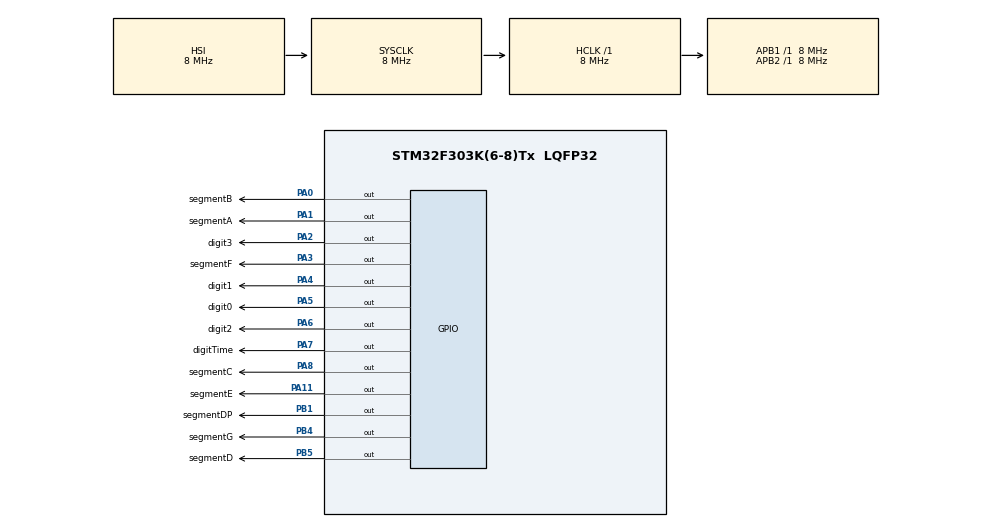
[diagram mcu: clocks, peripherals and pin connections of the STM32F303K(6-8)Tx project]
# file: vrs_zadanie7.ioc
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Mcu.Family=STM32F3
Mcu.Name=STM32F303K(6-8)Tx
Mcu.Package=LQFP32
NVIC.PriorityGroup=NVIC_PRIORITYGROUP_4
PA0.GPIO_Label=segmentB
PA0.Signal=GPIO_Output
PA1.GPIO_Label=segmentA
PA1.Signal=GPIO_Output
PA11.GPIO_Label=segmentE
PA11.Signal=GPIO_Output
PA2.GPIO_Label=digit3
PA2.Signal=GPIO_Output
PA3.GPIO_Label=segmentF
PA3.Signal=GPIO_Output
PA4.GPIO_Label=digit1
PA4.Signal=GPIO_Output
PA5.GPIO_Label=digit0
PA5.Signal=GPIO_Output
PA6.GPIO_Label=digit2
PA6.Signal=GPIO_Output
PA7.GPIO_Label=digitTime
PA7.Signal=GPIO_Output
PA8.GPIO_Label=segmentC
PA8.Signal=GPIO_Output
PB1.GPIO_Label=segmentDP
PB1.Signal=GPIO_Output
PB4.GPIO_Label=segmentG
PB4.Signal=GPIO_Output
PB5.GPIO_Label=segmentD
PB5.Signal=GPIO_Output
ProjectManager.HeapSize=0x200
ProjectManager.StackSize=0x400
ProjectManager.TargetToolchain=STM32CubeIDE
RCC.AHBFreq_Value=8000000
RCC.APB1Freq_Value=8000000
RCC.APB2Freq_Value=8000000
RCC.CortexFreq_Value=8000000
RCC.HSE_VALUE=8000000
RCC.HSI_VALUE=8000000
RCC.SYSCLKFreq_VALUE=8000000
board=custom

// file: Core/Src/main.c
/* USER CODE BEGIN Header */
/**
  ******************************************************************************
  * @file           : main.c
  * @brief          : Main program body
  ******************************************************************************
  * @attention
  *
  * <h2><center>&copy; Copyright (c) 2021 STMicroelectronics.
  * All rights reserved.</center></h2>
  *
  * This software component is licensed by ST under BSD 3-Clause license,
  * the "License"; You may not use this file except in compliance with the
  * License. You may obtain a copy of the License at:
  *                        opensource.org/licenses/BSD-3-Clause
  *
  ******************************************************************************
  */
/* USER CODE END Header */
#include "main.h"

/* USER CODE BEGIN PV */

const unsigned char seven_seg_digits_decode_abcdefg[75]= {
/*  0     1     2     3     4     5     6     7     8     9     :     ;     */
    0x7E, 0x30, 0x6D, 0x79, 0x33, 0x5B, 0x5F, 0x70, 0x7F, 0x7B, 0x00, 0x00,
/*  <     =     >     ?     @     A     B     C     D     E     F     G     */
    0x00, 0x00, 0x00, 0x00, 0x00, 0x77, 0x1F, 0x4E, 0x3D, 0x4F, 0x47, 0x5E,
/*  H     I     J     K     L     M     N     O     P     Q     R     S     */
    0x37, 0x06, 0x3C, 0x57, 0x0E, 0x55, 0x15, 0x1D, 0x67, 0x73, 0x05, 0x5B,
/*  T     U     V     W     X     Y     Z     [     \     ]     ^     _     */
    0x0F, 0x3E, 0x1C, 0x5C, 0x13, 0x3B, 0x6D, 0x00, 0x00, 0x00, 0x00, 0x08,
/*  `     a     b     c     d     e     f     g     h     i     j     k     */
    0x00, 0x77, 0x1F, 0x4E, 0x3D, 0x4F, 0x47, 0x5E, 0x37, 0x06, 0x3C, 0x57,
/*  l     m     n     o     p     q     r     s     t     u     v     w     */
    0x0E, 0x55, 0x15, 0x1D, 0x67, 0x73, 0x05, 0x5B, 0x0F, 0x3E, 0x1C, 0x5C,
/*  x     y     z     */
    0x13, 0x3B, 0x6D
};

const unsigned char retazec[]="Jakub_Miklus_98350";
int orientation=0; //0=left ; 1=right
int pos;

/* USER CODE END PV */

void SystemClock_Config(void);
static void MX_GPIO_Init(void);

/* USER CODE BEGIN 0 */
void resetSegments(void)
{
	LL_GPIO_SetOutputPin(GPIOA, LL_GPIO_PIN_11);
	LL_GPIO_SetOutputPin(GPIOA, LL_GPIO_PIN_8);
	LL_GPIO_SetOutputPin(GPIOB, LL_GPIO_PIN_1);
	LL_GPIO_SetOutputPin(GPIOB, LL_GPIO_PIN_5);
	LL_GPIO_SetOutputPin(GPIOB, LL_GPIO_PIN_4);
	LL_GPIO_SetOutputPin(GPIOA, LL_GPIO_PIN_0);
	LL_GPIO_SetOutputPin(GPIOA, LL_GPIO_PIN_1);
	//LL_GPIO_SetOutputPin(GPIOA, LL_GPIO_PIN_3);
	LL_GPIO_SetOutputPin(GPIOB, LL_GPIO_PIN_6);
}

/* Reset (turn-off) all digits*/
void resetDigits(void)
{
	LL_GPIO_ResetOutputPin(GPIOA, LL_GPIO_PIN_2);
	LL_GPIO_ResetOutputPin(GPIOA, LL_GPIO_PIN_5);
	LL_GPIO_ResetOutputPin(GPIOA, LL_GPIO_PIN_4);
	LL_GPIO_ResetOutputPin(GPIOA, LL_GPIO_PIN_6);
	LL_GPIO_ResetOutputPin(GPIOA, LL_GPIO_PIN_7);
}

unsigned char decode_7seg(unsigned char chr)
{ /* Implementation uses ASCII */
    if (chr > (unsigned char)'z')
        return 0x00;
    return seven_seg_digits_decode_abcdefg[chr - '0'];
    /* or
	return seven_seg_digits_decode_gfedcba[chr - '0']; */
}

void display_symbol(char symbol,int digit)
{
	switch (digit)
	​{
	    case 0:
		    DIGIT_0_ON;
	      break;

	    case 1:
	    	DIGIT_1_ON;
	      break;

	    case 2:
	    	DIGIT_2_ON;
	      break;

	    case 3:
	    	DIGIT_3_ON;
	      break;
	}

	char pomocna=symbol;
	pomocna & 1;

	if(pomocna==1)
		LL_GPIO_ResetOutputPin(segmentG_GPIO_Port, segmentG_Pin);

	pomocna=symbol;
	pomocna >> 1;
	pomocna & 1;

	if(pomocna==1)
		LL_GPIO_ResetOutputPin(segmentF_GPIO_Port, segmentF_Pin);

	pomocna=symbol;
	pomocna >> 2;
	pomocna & 1;

	if(pomocna==1)
		LL_GPIO_ResetOutputPin(segmentE_GPIO_Port, segmentE_Pin);

	pomocna=symbol;
	pomocna >> 3;
	pomocna & 1;

	if(pomocna==1)
		LL_GPIO_ResetOutputPin(segmentD_GPIO_Port, segmentD_Pin);

	pomocna=symbol;
	pomocna >> 4;
	pomocna & 1;

	if(pomocna==1)
		LL_GPIO_ResetOutputPin(segmentC_GPIO_Port, segmentC_Pin);

	pomocna=symbol;
	pomocna >> 5;
	pomocna & 1;

	if(pomocna==1)
		LL_GPIO_ResetOutputPin(segmentB_GPIO_Port, segmentB_Pin);

	pomocna=symbol;
	pomocna >> 6;
	pomocna & 1;

	if(pomocna==1)
		LL_GPIO_ResetOutputPin(segmentA_GPIO_Port, segmentA_Pin);
}
/* USER CODE END 0 */

int main(void)
{

  /* MCU Configuration--------------------------------------------------------*/

  /* Reset of all peripherals, Initializes the Flash interface and the Systick. */
  HAL_Init();

  /* USER CODE BEGIN Init */
  NVIC_SetPriorityGrouping(NVIC_PRIORITYGROUP_4);
  /* USER CODE END Init */

  /* Configure the system clock */
  SystemClock_Config();

  /* Initialize all configured peripherals */
  MX_GPIO_Init();

  /* Infinite loop */
  while (1)
  {
    if (orientation==0){
    	for(int i=0;(i+4)<=size(retazec);i++){
    		pos=i;
    		if((pos+4)==size(retazec))
    			orientation=1;
                LL_mDelay(500);
    	}
    }

    if(orientation==1){
    	for(int i=size(retazec)-4;i>=0;i--){
    	    pos=i;
    	    if(pos==0)
    	    	orientation=0;
            LL_mDelay(500);
    }

  }
}

void SystemClock_Config(void)
{
  RCC_OscInitTypeDef RCC_OscInitStruct = {0};
  RCC_ClkInitTypeDef RCC_ClkInitStruct = {0};

  /** Initializes the RCC Oscillators according to the specified parameters
  * in the RCC_OscInitTypeDef structure.
  */
  RCC_OscInitStruct.OscillatorType = RCC_OSCILLATORTYPE_HSI;
  RCC_OscInitStruct.HSIState = RCC_HSI_ON;
  RCC_OscInitStruct.HSICalibrationValue = RCC_HSICALIBRATION_DEFAULT;
  RCC_OscInitStruct.PLL.PLLState = RCC_PLL_NONE;
  if (HAL_RCC_OscConfig(&RCC_OscInitStruct) != HAL_OK)
  {
    Error_Handler();
  }
  /** Initializes the CPU, AHB and APB buses clocks
  */
  RCC_ClkInitStruct.ClockType = RCC_CLOCKTYPE_HCLK|RCC_CLOCKTYPE_SYSCLK
                              |RCC_CLOCKTYPE_PCLK1|RCC_CLOCKTYPE_PCLK2;
  RCC_ClkInitStruct.SYSCLKSource = RCC_SYSCLKSOURCE_HSI;
  RCC_ClkInitStruct.AHBCLKDivider = RCC_SYSCLK_DIV1;
  RCC_ClkInitStruct.APB1CLKDivider = RCC_HCLK_DIV1;
  RCC_ClkInitStruct.APB2CLKDivider = RCC_HCLK_DIV1;

  if (HAL_RCC_ClockConfig(&RCC_ClkInitStruct, FLASH_LATENCY_0) != HAL_OK)
  {
    Error_Handler();
  }
}

static void MX_GPIO_Init(void)
{
  GPIO_InitTypeDef GPIO_InitStruct = {0};

  /* GPIO Ports Clock Enable */
  __HAL_RCC_GPIOA_CLK_ENABLE();
  __HAL_RCC_GPIOB_CLK_ENABLE();

  /*Configure GPIO pin Output Level */
  HAL_GPIO_WritePin(GPIOA, segmentB_Pin|segmentA_Pin|digit3_Pin|segmentF_Pin
                          |digit1_Pin|digit0_Pin|digit2_Pin|digitTime_Pin
                          |segmentC_Pin|segmentE_Pin, GPIO_PIN_RESET);

  /*Configure GPIO pin Output Level */
  HAL_GPIO_WritePin(GPIOB, segmentDP_Pin|segmentG_Pin|segmentD_Pin, GPIO_PIN_RESET);

  /*Configure GPIO pins : segmentB_Pin segmentA_Pin digit3_Pin segmentF_Pin
                           digit1_Pin digit0_Pin digit2_Pin digitTime_Pin
                           segmentC_Pin segmentE_Pin */
  GPIO_InitStruct.Pin = segmentB_Pin|segmentA_Pin|digit3_Pin|segmentF_Pin
                          |digit1_Pin|digit0_Pin|digit2_Pin|digitTime_Pin
                          |segmentC_Pin|segmentE_Pin;
  GPIO_InitStruct.Mode = GPIO_MODE_OUTPUT_PP;
  GPIO_InitStruct.Pull = GPIO_NOPULL;
  GPIO_InitStruct.Speed = GPIO_SPEED_FREQ_LOW;
  HAL_GPIO_Init(GPIOA, &GPIO_InitStruct);

  /*Configure GPIO pins : segmentDP_Pin segmentG_Pin segmentD_Pin */
  GPIO_InitStruct.Pin = segmentDP_Pin|segmentG_Pin|segmentD_Pin;
  GPIO_InitStruct.Mode = GPIO_MODE_OUTPUT_PP;
  GPIO_InitStruct.Pull = GPIO_NOPULL;
  GPIO_InitStruct.Speed = GPIO_SPEED_FREQ_LOW;
  HAL_GPIO_Init(GPIOB, &GPIO_InitStruct);

}

/* USER CODE BEGIN 4 */
void updateDisplay(void)
{
	int digit=0;
	for(uint8_t i = pos; i < pos+4; i++)
	{

	    display_symbol(retazec[i],digit);

		digit+=1;
		resetDigits();
		resetSegments();
	}
}

//Update displayed data and keep display ON
void TIM2_IRQHandler(void)
{
	if(LL_TIM_IsActiveFlag_UPDATE(TIM2))
	{
		updateDisplay();
	}

	LL_TIM_ClearFlag_UPDATE(TIM2);
}
/* USER CODE END 4 */

void Error_Handler(void)
{
  __disable_irq();
  while (1)
  {
  }
}

/************************ (C) COPYRIGHT STMicroelectronics *****END OF FILE****/
